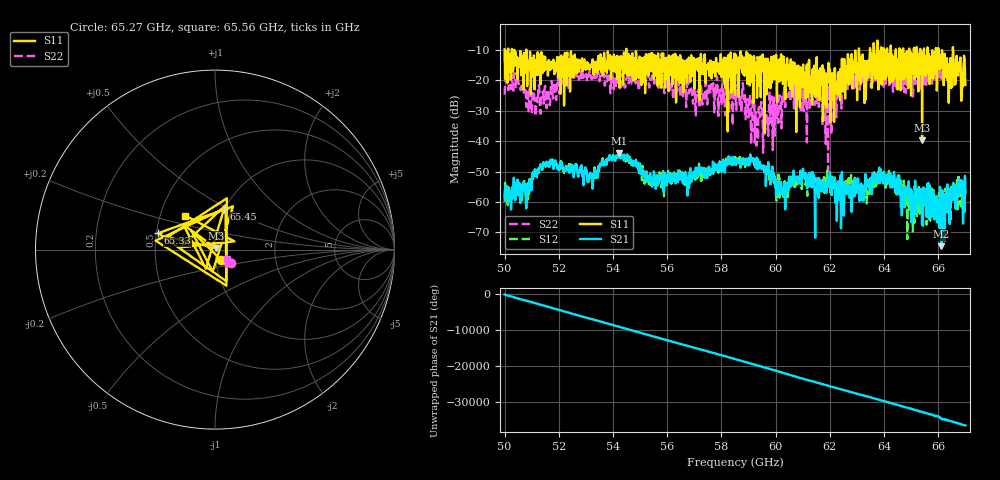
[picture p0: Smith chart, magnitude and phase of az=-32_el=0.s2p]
!Created with skrf (http://scikit-rf.org).
# GHz S RI R 50.0
!freq ReS11 ImS11 ReS21 ImS21 ReS12 ImS12 ReS22 ImS22
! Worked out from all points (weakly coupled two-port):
!   1001 points, 50 GHz to 67 GHz, reference 50 ohm
!   highest |S21| = -43.85 dB at 54.23 GHz (marker M1); lowest = -74.5 dB at 66.12 GHz (marker M2)
!   lowest |S11| = -39.6 dB at 65.4 GHz (marker M3), VSWR 1.02, Z = 50.5 + j0.939 ohm
!   |S11| at or under -10 dB: 50.8 GHz to 54.49 GHz (3.685 GHz wide, 7 % of centre); 54.49 GHz to 63.07 GHz (8.582 GHz wide, 14.6 % of centre); 66.01 GHz to 66.54 GHz (533.3 MHz wide, 0.805 % of centre) (the widest 3 of 27)
!   |S22| runs from -49.6 to -14.0 dB; largest |S21 - S12| = 0.0023
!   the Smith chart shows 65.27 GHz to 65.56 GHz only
!   S11 on the Smith chart (normalised r, x): 65.27 GHz: 1.06, -0.12; 65.33 GHz: 0.51, +0.10; 65.45 GHz: 0.99, +0.48; 65.56 GHz: 0.67, +0.27
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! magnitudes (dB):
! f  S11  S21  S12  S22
! 50 GHz  -9.8  -59.6  -58.7  -24.7
! 50.82 GHz  -10.9  -60.1  -57.9  -26.3
! 51.7 GHz  -16.3  -46.0  -47.5  -23.5
! 52.84 GHz  -13.5  -47.8  -50.0  -19.3
! 54.23 GHz  -22.3  -43.8  -44.1  -21.4
! 55.68 GHz  -13.6  -53.5  -53.4  -22.4
! 58.5 GHz  -24.9  -47.7  -45.1  -24.2
! 59.32 GHz  -25.7  -49.3  -46.6  -33.2
! 60.3 GHz  -14.7  -58.1  -54.3  -24.1
! 61.34 GHz  -27.9  -55.2  -52.4  -25.9
! 61.53 GHz  -19.1  -53.9  -56.0  -27.1
! 62 GHz  -16.3  -50.1  -52.1  -24.8
! 62.5 GHz  -21.7  -59.6  -57.7  -22.3
! 64.18 GHz  -19.0  -51.4  -49.7  -18.4
! 65.27 GHz  -23.7  -57.6  -62.7  -18.6
! 65.33 GHz  -9.6  -59.7  -60.1  -19.5
! 65.4 GHz  -39.6  -67.5  -59.9  -19.8
! 65.45 GHz  -12.6  -55.2  -57.7  -17.7
! 65.56 GHz  -12.0  -61.4  -60.3  -21.5
! 66.12 GHz  -15.3  -74.5  -65.3  -19.2
! 66.8 GHz  -14.8  -53.8  -56.6  -14.0
! 67 GHz  -21.5  -56.8  -57.9  -15.8
